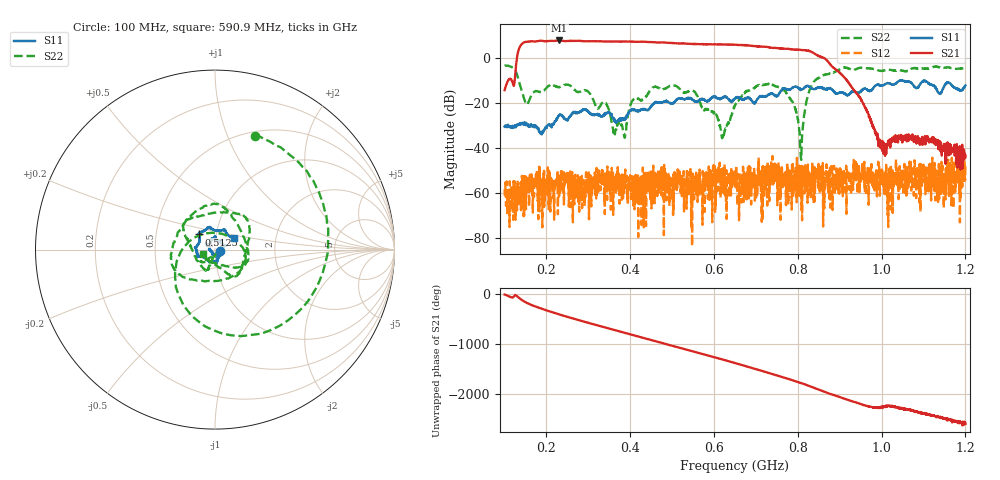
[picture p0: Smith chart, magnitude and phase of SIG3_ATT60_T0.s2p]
# Hz S DB R 50
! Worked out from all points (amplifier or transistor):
!   1601 points, 100 MHz to 1.2 GHz, reference 50 ohm
!   highest |S21| = 7.7 dB at 230.6 MHz (marker M1)
!   |S21| within 3 dB of that: 135.9 MHz to 729.5 MHz (593.5 MHz wide, 137 % of centre)
!   unconditionally stable (mu >= 1): start of sweep to end of sweep
!   at 282.9 MHz: K = 133.71, MAG = 7.7 dB, |S12| = -56.4 dB
!   at 650 MHz: K = 75.24, MAG = 5.9 dB, |S12| = -49.6 dB
!   at 1.2 GHz: K = 10446.02, MAG = -40.9 dB, |S12| = -47.9 dB
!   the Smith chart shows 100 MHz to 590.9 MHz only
!   S11 on the Smith chart (normalised r, x): 100 MHz: 1.06, -0.02; 512.5 MHz: 0.83, +0.14; 590.9 MHz: 1.23, +0.16
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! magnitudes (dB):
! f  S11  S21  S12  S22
! 100 MHz  -30.5  -14.3  -58.3  -3.5
! 121.3 MHz  -30.2  -12.3  -54.7  -4.6
! 142.6 MHz  -29.2  6.4  -62.4  -15.7
! 188.7 MHz  -34.0  7.6  -55.6  -15.1
! 230.6 MHz  -25.4  7.7  -52.5  -13.0
! 283.6 MHz  -23.7  7.5  -62.3  -14.7
! 385.3 MHz  -27.4  7.2  -59.9  -34.5
! 406.6 MHz  -22.6  7.2  -53.1  -18.7
! 467.1 MHz  -20.0  6.8  -60.7  -13.2
! 512.5 MHz  -18.2  6.4  -57.6  -12.9
! 590.9 MHz  -18.1  6.0  -63.1  -23.3
! 621.8 MHz  -17.5  5.9  -59.8  -35.4
! 650 MHz  -18.1  5.8  -49.6  -21.0
! 705 MHz  -18.1  5.1  -48.8  -12.2
! 760 MHz  -14.6  4.1  -58.8  -13.3
! 790.9 MHz  -12.9  3.7  -57.0  -20.8
! 807.4 MHz  -14.0  3.6  -47.5  -44.6
! 833.6 MHz  -13.5  2.6  -59.1  -12.0
! 914 MHz  -16.1  -9.3  -56.1  -4.3
! 997.9 MHz  -12.2  -37.7  -54.0  -5.7
! 1.017 GHz  -11.2  -38.7  -56.6  -5.2
! 1.2 GHz  -12.2  -43.3  -47.9  -4.2
